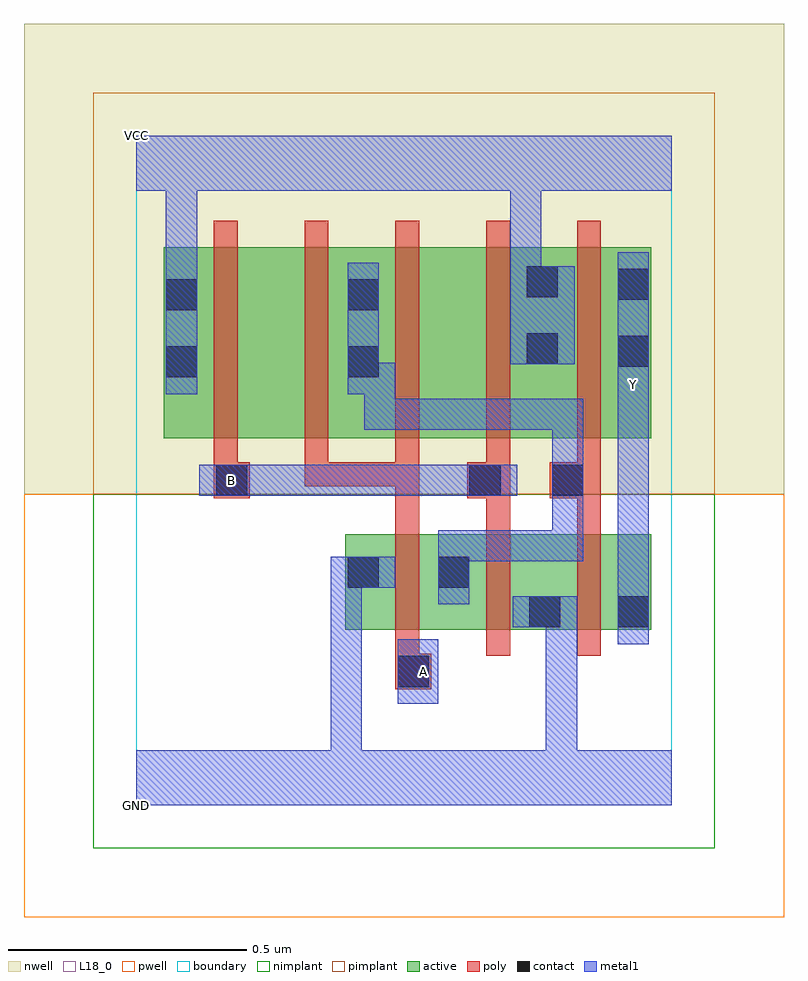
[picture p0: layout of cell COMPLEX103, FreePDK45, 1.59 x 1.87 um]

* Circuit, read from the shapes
.subckt COMPLEX103 A B GND VCC Y
M1 n1 A GND VSUBS nfet w=0.2u l=0.05u
M2 GND B n1 VSUBS nfet w=0.2u l=0.05u
M3 Y n1 GND VSUBS nfet w=0.2u l=0.05u
M4 n2 B VCC n3 pfet w=0.4u l=0.05u
M5 n1 A n2 n3 pfet w=0.4u l=0.05u
M6 n4 A n1 n3 pfet w=0.4u l=0.05u
M7 VCC B n4 n3 pfet w=0.4u l=0.05u
M8 Y n1 VCC n3 pfet w=0.4u l=0.05u
.ends

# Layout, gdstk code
import gdstk
lib = gdstk.Library(unit=1e-6, precision=1e-09)
def R(c, l, rs):  # rectangles x0, y0, x1, y1
    for r in rs: c.add(gdstk.rectangle(r[:2], r[2:], *l))
def A(c, l, x, y, w, h, nx, ny, dx, dy):  # array of equal rectangles
    R(c, l, [(x+i*dx, y+j*dy, x+i*dx+w, y+j*dy+h) for i in range(nx) for j in range(ny)])
active = (1, 0)
pwell = (2, 0)
nwell = (3, 0)
nimplant = (4, 0)
pimplant = (5, 0)
poly = (9, 0)
contact = (10, 0)
metal1 = (11, 0)
L18_0 = (18, 0)
boundary = (235, 0)

complex103 = lib.new_cell('COMPLEX103')
R(complex103, active, [(0.437,0.367,0.512,0.567), (0.437,0.367,0.702,0.567), (0.627,0.367,0.892,0.567), (0.627,0.367,0.702,0.525), (0.817,0.367,1.077,0.567), (0.817,0.367,0.892,0.535), (1.002,0.367,1.077,0.567), (0.057,0.767,0.282,1.167), (0.057,0.767,0.132,1.105), (0.282,0.767,0.512,1.167), (0.437,0.767,0.662,1.167), (0.662,0.767,0.887,1.167), (0.812,0.767,1.077,1.167), (1.002,0.767,1.077,1.165), (0.437,0.89,0.512,1.167), (0.812,0.907,0.887,1.132)])
R(complex103, pwell, [(-0.235,-0.235,1.355,0.65)])
R(complex103, nwell, [(-0.235,0.65,1.355,1.635)])
R(complex103, nimplant, [(-0.09,-0.09,1.21,0.65)])
R(complex103, pimplant, [(-0.09,0.65,1.21,1.49)])
A(complex103, poly, 0.542, 0.312, 0.05, 0.31, 3, 1, 0.19, 0)
A(complex103, poly, 0.162, 0.667, 0.05, 0.095, 5, 1, 0.19, 0)
A(complex103, poly, 0.162, 0.712, 0.05, 0.51, 5, 1, 0.19, 0)
R(complex103, poly, [(0.542,0.242,0.617,0.317), (0.542,0.267,0.592,0.362), (0.542,0.572,0.592,0.717), (0.732,0.572,0.782,0.692), (0.922,0.572,0.972,0.692), (0.162,0.642,0.237,0.717), (0.692,0.642,0.782,0.717), (0.865,0.642,0.972,0.717), (0.352,0.667,0.592,0.717), (0.352,0.667,0.402,0.717), (0.352,0.667,0.402,0.717), (0.352,0.667,0.402,0.717), (0.542,0.667,0.592,0.717)])
R(complex103, contact, [(0.547,0.247,0.612,0.312), (0.822,0.372,0.887,0.437), (1.007,0.372,1.072,0.437), (0.442,0.455,0.507,0.52), (0.632,0.455,0.697,0.52), (0.167,0.647,0.232,0.712), (0.697,0.647,0.762,0.712), (0.87,0.647,0.935,0.712), (0.062,0.895,0.127,0.96), (0.442,0.895,0.507,0.96), (1.007,0.917,1.072,0.982), (0.817,0.922,0.882,0.987), (0.062,1.035,0.127,1.1), (0.442,1.035,0.507,1.1), (1.007,1.057,1.072,1.122), (0.817,1.062,0.882,1.127)])
R(complex103, metal1, [(0,0,1.12,0.115), (0.407,0.05,0.472,0.115), (0.407,0.05,0.472,0.115), (0.407,0.05,0.472,0.115), (0.407,0.05,0.472,0.115), (0.407,0.05,0.472,0.115), (0.407,0.05,0.472,0.115), (0.407,0.05,0.472,0.52), (0.857,0.05,0.922,0.437), (0.547,0.212,0.632,0.347), (1.007,0.337,1.072,0.472), (0.787,0.372,0.922,0.437), (0.857,0.372,0.922,0.437), (0.857,0.372,0.922,0.437), (0.857,0.372,0.922,0.437), (0.857,0.372,0.922,0.437), (0.857,0.372,0.922,0.437), (0.857,0.372,0.922,0.437), (1.007,0.407,1.072,0.877), (0.632,0.42,0.697,0.555), (0.407,0.455,0.542,0.52), (0.632,0.49,0.697,0.555), (0.632,0.49,0.697,0.575), (0.632,0.51,0.935,0.575), (0.87,0.51,0.935,0.575), (0.87,0.51,0.935,0.677), (0.87,0.612,0.935,0.677), (0.87,0.612,0.935,0.677), (0.87,0.612,0.935,0.747), (0.87,0.612,0.935,0.85), (0.132,0.647,0.267,0.712), (0.202,0.647,0.267,0.712), (0.202,0.647,0.267,0.712), (0.202,0.647,0.405,0.712), (0.34,0.647,0.405,0.712), (0.34,0.647,0.405,0.712), (0.34,0.647,0.405,0.712), (0.34,0.647,0.56,0.712), (0.495,0.647,0.56,0.712), (0.495,0.647,0.68,0.712), (0.615,0.647,0.68,0.712), (0.615,0.647,0.727,0.712), (0.662,0.647,0.797,0.712), (0.477,0.785,0.71,0.85), (0.477,0.785,0.542,0.925), (0.645,0.785,0.71,0.85), (0.645,0.785,0.71,0.85), (0.645,0.785,0.71,0.85), (0.645,0.785,0.935,0.85), (0.87,0.785,0.935,0.85), (1.007,0.812,1.072,0.947), (0.062,0.86,0.127,1.135), (0.442,0.86,0.507,1.135), (0.442,0.86,0.542,0.925), (1.007,0.882,1.072,0.947), (1.007,0.882,1.072,1.157), (0.782,0.922,0.917,1.127), (0.782,1.062,0.847,1.35), (0.062,1.07,0.127,1.35), (0,1.285,1.12,1.4), (0.062,1.285,0.127,1.35), (0.062,1.285,0.127,1.35), (0.782,1.285,0.847,1.35), (0.782,1.285,0.847,1.35)])
R(complex103, L18_0, [(0,0,1.12,0.115), (0.407,0.05,0.472,0.115), (0.407,0.05,0.472,0.115), (0.407,0.05,0.472,0.115), (0.407,0.05,0.472,0.115), (0.407,0.05,0.472,0.115), (0.407,0.05,0.472,0.115), (0.407,0.05,0.472,0.52), (0.857,0.05,0.922,0.437), (0.547,0.212,0.632,0.347), (0.567,0.247,0.632,0.312), (1.007,0.337,1.072,0.472), (0.787,0.372,0.922,0.437), (0.857,0.372,0.922,0.437), (0.857,0.372,0.922,0.437), (0.857,0.372,0.922,0.437), (0.857,0.372,0.922,0.437), (0.857,0.372,0.922,0.437), (0.857,0.372,0.922,0.437), (1.007,0.407,1.072,0.877), (0.407,0.455,0.542,0.52), (0.132,0.647,0.267,0.712), (0.167,0.647,0.232,0.712), (0.202,0.647,0.267,0.712), (0.202,0.647,0.267,0.712), (0.202,0.647,0.405,0.712), (0.34,0.647,0.405,0.712), (0.34,0.647,0.405,0.712), (0.34,0.647,0.405,0.712), (0.34,0.647,0.56,0.712), (0.495,0.647,0.56,0.712), (0.495,0.647,0.68,0.712), (0.615,0.647,0.68,0.712), (0.615,0.647,0.727,0.712), (0.662,0.647,0.797,0.712), (1.007,0.812,1.072,0.947), (1.007,0.847,1.072,0.912), (0.062,0.86,0.127,1.135), (1.007,0.882,1.072,1.157), (1.007,0.882,1.072,0.947), (0.782,0.922,0.917,1.127), (0.782,1.062,0.847,1.35), (0.062,1.07,0.127,1.35), (0,1.285,1.12,1.4), (0.062,1.285,0.127,1.35), (0.062,1.285,0.127,1.35), (0.782,1.285,0.847,1.35), (0.782,1.285,0.847,1.35)])
R(complex103, boundary, [(0,0,1.12,1.4)])
complex103.add(gdstk.Label('A', (0.6,0.28), layer=11, texttype=0))
complex103.add(gdstk.Label('B', (0.2,0.68), layer=11, texttype=0))
complex103.add(gdstk.Label('Y', (1.04,0.88), layer=11, texttype=0))
complex103.add(gdstk.Label('VCC', (0,1.4), layer=11, texttype=0))
complex103.add(gdstk.Label('GND', (0,0), layer=11, texttype=0))

lib.write_gds('COMPLEX103.gds')
